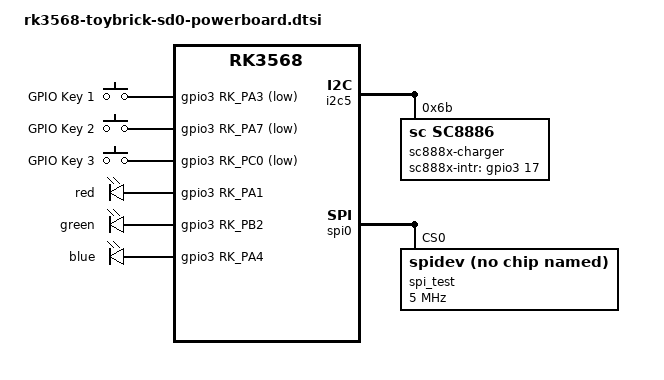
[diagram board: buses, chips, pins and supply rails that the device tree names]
// SPDX-License-Identifier: (GPL-2.0+ OR MIT)
/*
 * Copyright (c) 2023 Rockchip Electronics Co., Ltd.
 *
 */

/ {
	gpio-keys {
		compatible = "gpio-keys";
		autorepeat;
		pinctrl-names = "default";
		pinctrl-0 = <&gpio_key_sets>;

		key1 {
			debounce-interval = <100>;
			gpios = <&gpio3 RK_PA3 GPIO_ACTIVE_LOW>;
			label = "GPIO Key 1";
			linux,code = <KEY_1>;
		};
		key2 {
			debounce-interval = <100>;
			gpios = <&gpio3 RK_PA7 GPIO_ACTIVE_LOW>;
			label = "GPIO Key 2";
			linux,code = <KEY_2>;
		};
		key3 {
			debounce-interval = <100>;
			gpios = <&gpio3 RK_PC0 GPIO_ACTIVE_LOW>;
			label = "GPIO Key 3";
			linux,code = <KEY_3>;
		};
	};

	leds: leds {
        compatible = "gpio-leds";
        red: red {
            gpios = <&gpio3 RK_PA1 GPIO_ACTIVE_HIGH>;
        };

		green: green {
            gpios = <&gpio3 RK_PB2 GPIO_ACTIVE_HIGH>;
        };
		blue: blue {
            gpios = <&gpio3 RK_PA4 GPIO_ACTIVE_HIGH>;
        };
    };
};

&i2s3_2ch {
	status = "disabled";
};

&i2c5 {
	status = "okay";
	pinctrl-names = "default";
	pinctrl-0 = <&i2c5m0_xfer>;

	sc888x-charger@6b {
		compatible = "sc,sc8886";
		reg = <0x6b>;
		sc,sc888x-intr-gpio = <&gpio3 17 0>;
		sc,charge-current = <1000000>;
		sc,max-input-voltage = <20000000>;
		sc,min-input-voltage = <4200000>;/* VINDPM*/
		sc,max-input-current = <6000000>;
		sc,max-charge-voltage = <8400000>;
		sc,input-current = <500000>;
		sc,input-current-sdp = <500000>;
		sc,input-current-dcp = <2000000>;
		sc,input-current-cdp = <2000000>;
		sc,minimum-sys-voltage = <7400000>;
		sc,otg-voltage = <5000000>;
		sc,otg-current = <500000>;
	};
};

/*
&i2c6 {
	status = "okay";
	pinctrl-names = "default";
	pinctrl-0 = <&i2c6m3_xfer>;
};
*/

&pinctrl {
	buttons {
		gpio_key_sets: gpio-key-sets {
			rockchip,pins =
				<3 RK_PA3 RK_FUNC_GPIO &pcfg_pull_none>,
				<3 RK_PA7 RK_FUNC_GPIO &pcfg_pull_none>,
				<3 RK_PC0 RK_FUNC_GPIO &pcfg_pull_none>;
		};
	};
};

&spi0 {
	status = "okay";
	pinctrl-names = "default";
	pinctrl-0 = <&spi0m0_cs0 &spi0m0_pins>;
	max-freq = <50000000>;
	spi_test@0 {
		compatible = "rockchip,spidev";
		reg = <0>;
		spi-max-frequency = <5000000>;
	};
};
